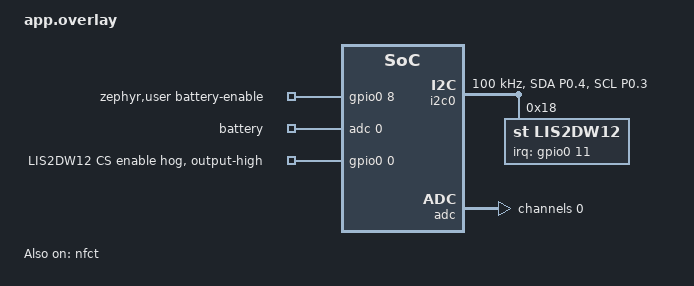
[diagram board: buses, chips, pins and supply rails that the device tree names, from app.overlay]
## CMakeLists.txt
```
cmake_minimum_required(VERSION 3.20.0)

find_package(Zephyr REQUIRED HINTS $ENV{ZEPHYR_BASE})
project(gpio_interrupt_clean)

target_sources(app PRIVATE
	src/main.c
	src/app_controller.c
	src/app_ble.c
	src/app_nfc.c
	src/sensor_accel.c
	src/sensor_battery.c
	src/measurement.c
	src/app_settings.c
)
```

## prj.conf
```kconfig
# GPIO
CONFIG_GPIO=y
CONFIG_GPIO_HOGS=y

# Development console and logging
CONFIG_SERIAL=y
CONFIG_CONSOLE=y
CONFIG_UART_CONSOLE=y
CONFIG_USE_SEGGER_RTT=y
CONFIG_RTT_CONSOLE=y

CONFIG_LOG=y
CONFIG_LOG_DEFAULT_LEVEL=3
CONFIG_LOG_MAX_LEVEL=4
CONFIG_LOG_BACKEND_RTT=y
CONFIG_LOG_BACKEND_UART=n

# Bluetooth Low Energy
CONFIG_BT=y
CONFIG_BT_PERIPHERAL=y
CONFIG_BT_DEVICE_NAME="Zephyr Button App"
CONFIG_BT_SMP=y
CONFIG_BT_BONDABLE=y
CONFIG_BT_SETTINGS=y
CONFIG_BT_KEYS_OVERWRITE_OLDEST=y

# Persistent settings
CONFIG_SETTINGS=y
CONFIG_FLASH=y
CONFIG_FLASH_MAP=y
CONFIG_NVS=y

# Workqueue capacity for BLE, NFC, and sensor-trigger work
CONFIG_SYSTEM_WORKQUEUE_STACK_SIZE=2048

# NFC Type 4 Tag
CONFIG_NFC_T4T_NRFXLIB=y
CONFIG_NFC_NDEF=y
CONFIG_NFC_NDEF_MSG=y
CONFIG_NFC_NDEF_RECORD=y
CONFIG_NFC_NDEF_TEXT_RECORD=y
CONFIG_NFC_NDEF_URI_REC=y

# The production PCB uses P0.00 as a GPIO, so use the LFRC clock.
CONFIG_CLOCK_CONTROL_NRF_K32SRC_RC=y

# Battery voltage measurement
CONFIG_ADC=y

# LIS2DW12 accelerometer
CONFIG_I2C=y
CONFIG_SENSOR=y
CONFIG_LIS2DW12=y
CONFIG_LIS2DW12_TRIGGER_GLOBAL_THREAD=y
CONFIG_LIS2DW12_WAKEUP=y
```

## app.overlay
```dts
#include <zephyr/dt-bindings/adc/adc.h>
#include <zephyr/dt-bindings/adc/nrf-saadc.h>
#include <zephyr/dt-bindings/gpio/gpio.h>
#include <zephyr/dt-bindings/i2c/i2c.h>
#include <zephyr/dt-bindings/pinctrl/nrf-pinctrl.h>
#include <zephyr/dt-bindings/sensor/lis2dw12.h>

/ {
	aliases {
		accel0 = &lis2dw12;
	};

	/*
	 * Application-specific hardware.
	 *
	 * Battery ADC:
	 *     SAADC channel 0 reads physical input AIN6 / P0.30.
	 *
	 * Battery divider enable:
	 *     P0.08 drives the BSS138 gate.
	 *     Active high completes the lower divider leg to ground.
	 */
	zephyr,user {
		io-channels = <&adc 0>;
		io-channel-names = "battery";

		battery-enable-gpios =
			<&gpio0 8 GPIO_ACTIVE_HIGH>;
	};
};

&pinctrl {
	sensor_i2c0_default: sensor_i2c0_default {
		group1 {
			psels = <NRF_PSEL(TWIM_SDA, 0, 4)>,
				<NRF_PSEL(TWIM_SCL, 0, 3)>;
		};
	};

	sensor_i2c0_sleep: sensor_i2c0_sleep {
		group1 {
			psels = <NRF_PSEL(TWIM_SDA, 0, 4)>,
				<NRF_PSEL(TWIM_SCL, 0, 3)>;

			low-power-enable;
		};
	};
};

/*
 * P0.00 drives the TPS22860 ON input.
 *
 * The TPS22860 output drives the LIS2DW12 CS pin, so this
 * GPIO must be high before the LIS2DW12 driver starts.
 */
&gpio0 {
	accel_cs_enable_hog: accel-cs-enable-hog {
		gpio-hog;
		gpios = <0 GPIO_ACTIVE_HIGH>;
		output-high;
		line-name = "LIS2DW12 CS enable";
	};
};

&i2c0 {
	status = "okay";
	clock-frequency = <I2C_BITRATE_STANDARD>;

	pinctrl-0 = <&sensor_i2c0_default>;
	pinctrl-1 = <&sensor_i2c0_sleep>;
	pinctrl-names = "default", "sleep";

	lis2dw12: accelerometer@18 {
		compatible = "st,lis2dw12";
		reg = <0x18>;
		status = "okay";

		range = <2>;
		odr = <0>;
		power-mode = <0>;

		irq-gpios = <&gpio0 11 GPIO_ACTIVE_HIGH>;
		int-pin = <1>;

		wakeup-duration =
			<LIS2DW12_DT_WAKEUP_2_ODR>;
	};
};

/*
 * SAADC channel 0 is a software ADC channel.
 *
 * NRF_SAADC_AIN6 selects the physical P0.30 analog input.
 * The two numbers do not need to be the same.
 */
&adc {
	status = "okay";

	#address-cells = <1>;
	#size-cells = <0>;

	channel@0 {
		reg = <0>;

		zephyr,gain = "ADC_GAIN_1_6";
		zephyr,reference = "ADC_REF_INTERNAL";

		zephyr,acquisition-time =
			<ADC_ACQ_TIME(
				ADC_ACQ_TIME_MICROSECONDS,
				40)>;

		zephyr,input-positive =
			<NRF_SAADC_AIN6>;

		zephyr,resolution = <12>;
	};
};

/*
 * The nRF52-DK board definition normally assigns P0.08 to
 * UART0. The production sensor uses P0.08 for the battery
 * divider enable signal, so UART0 must not claim this pin.
 *
 * Logging remains available through RTT.
 */
&uart0 {
	status = "disabled";
};

&nfct {
	status = "okay";
};

&gpiote {
	status = "okay";
};
```

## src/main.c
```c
#include <zephyr/logging/log.h>

#include "app_controller.h"

LOG_MODULE_REGISTER(eerms_main, LOG_LEVEL_INF);

int main(void)
{
	int ret;

	LOG_INF("Application started");

	ret = app_controller_init();

	if (ret < 0) {
		LOG_ERR("Application initialization failed: %d",
			ret);

		return ret;
	}

	LOG_INF("Setup complete; entering application event loop");

	app_controller_run();

	/*
	 * The controller event loop normally never returns.
	 */
	return 0;
}
```

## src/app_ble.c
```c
#include <errno.h>
#include <stdbool.h>
#include <stdint.h>

#include <zephyr/bluetooth/bluetooth.h>
#include <zephyr/bluetooth/conn.h>
#include <zephyr/bluetooth/gap.h>
#include <zephyr/bluetooth/gatt.h>
#include <zephyr/kernel.h>
#include <zephyr/logging/log.h>
#include <zephyr/sys/atomic.h>
#include <zephyr/sys/byteorder.h>
#include <zephyr/sys/util.h>
#include <zephyr/bluetooth/hci_types.h> 

#include "app_ble.h"

LOG_MODULE_REGISTER(app_ble, LOG_LEVEL_DBG);

#define APP_STATUS_PROTOCOL_VERSION 2U
#define APP_STATUS_PACKET_SIZE      20U

#define ACCEL_PACKET_SIZE 6U

#define MEASUREMENT_PACKET_PROTOCOL_VERSION 1U
#define MEASUREMENT_PACKET_SIZE             20U

#define MEASUREMENT_PACKET_VERSION_OFFSET       0U
#define MEASUREMENT_PACKET_VALID_FLAGS_OFFSET   1U
#define MEASUREMENT_PACKET_BATTERY_STATE_OFFSET 2U
#define MEASUREMENT_PACKET_HEALTH_OFFSET        3U
#define MEASUREMENT_PACKET_BATTERY_MV_OFFSET    4U
#define MEASUREMENT_PACKET_TEMPERATURE_OFFSET   6U
#define MEASUREMENT_PACKET_MEAN_X_OFFSET        8U
#define MEASUREMENT_PACKET_MEAN_Y_OFFSET        10U
#define MEASUREMENT_PACKET_MEAN_Z_OFFSET        12U
#define MEASUREMENT_PACKET_RMS_OFFSET           14U
#define MEASUREMENT_PACKET_PEAK_OFFSET          16U
#define MEASUREMENT_PACKET_SEQUENCE_OFFSET      18U
#define APP_STATUS_VERSION_OFFSET          0U
#define APP_STATUS_MODE_OFFSET             1U
#define APP_STATUS_RUNTIME_STATE_OFFSET    2U
#define APP_STATUS_WAKE_REASON_OFFSET      3U
#define APP_STATUS_HEALTH_OFFSET           4U
#define APP_STATUS_FLAGS_OFFSET            5U
#define APP_STATUS_ERROR_CODE_OFFSET       6U
#define APP_STATUS_FAULT_FLAGS_OFFSET      8U
#define APP_STATUS_FAULT_COUNT_OFFSET      10U
#define APP_STATUS_TRANSITION_COUNT_OFFSET 12U
#define APP_STATUS_UPTIME_OFFSET           16U

#define APP_STATUS_FLAG_CONNECTED             0x01U
#define APP_STATUS_FLAG_ADVERTISING_REQUESTED 0x02U
#define APP_STATUS_FLAG_ADVERTISING_ACTIVE    0x04U

BUILD_ASSERT(
	APP_STATUS_UPTIME_OFFSET + sizeof(uint32_t) ==
		APP_STATUS_PACKET_SIZE,
	"Application status packet layout does not match packet size");

BUILD_ASSERT(
	MEASUREMENT_PACKET_SEQUENCE_OFFSET +
		sizeof(uint16_t) ==
	MEASUREMENT_PACKET_SIZE,
	"Measurement packet layout does not match packet size"
);

#define BT_UUID_BUTTON_SERVICE_VAL \
	BT_UUID_128_ENCODE(0x12345678, 0x1234, 0x5678, 0x1234, 0x56789abcdef0)
#define BT_UUID_APP_MODE_VAL \
	BT_UUID_128_ENCODE(0x1234567a, 0x1234, 0x5678, 0x1234, 0x56789abcdef0)
#define BT_UUID_APP_STATUS_VAL \
	BT_UUID_128_ENCODE(0x1234567b, 0x1234, 0x5678, 0x1234, 0x56789abcdef0)
#define BT_UUID_APP_COMMAND_VAL \
	BT_UUID_128_ENCODE(0x1234567c, 0x1234, 0x5678, 0x1234, 0x56789abcdef0)
#define BT_UUID_ACCEL_DATA_VAL \
	BT_UUID_128_ENCODE(0x1234567d, 0x1234, 0x5678, 0x1234, 0x56789abcdef0)
#define BT_UUID_VIBRATION_DATA_VAL \
	BT_UUID_128_ENCODE(0x1234567e, 0x1234, 0x5678, 0x1234, 0x56789abcdef0)

static const struct app_ble_callbacks *app_callbacks;
static struct bt_conn *current_conn;

static atomic_t advertising_requested = ATOMIC_INIT(0);
static atomic_t advertising_active = ATOMIC_INIT(0); 

static bool app_mode_notifications_enabled;
static bool accel_notifications_enabled;
static bool vibration_notifications_enabled;

static int16_t latest_accel_x_mg;
static int16_t latest_accel_y_mg;
static int16_t latest_accel_z_mg;

static struct app_ble_measurement latest_measurement;

static struct bt_uuid_128 button_service_uuid =
	BT_UUID_INIT_128(BT_UUID_BUTTON_SERVICE_VAL);
static struct bt_uuid_128 app_mode_uuid =
	BT_UUID_INIT_128(BT_UUID_APP_MODE_VAL);
static struct bt_uuid_128 app_status_uuid =
	BT_UUID_INIT_128(BT_UUID_APP_STATUS_VAL);
static struct bt_uuid_128 app_command_uuid =
	BT_UUID_INIT_128(BT_UUID_APP_COMMAND_VAL);
static struct bt_uuid_128 accel_data_uuid =
	BT_UUID_INIT_128(BT_UUID_ACCEL_DATA_VAL);
static struct bt_uuid_128 vibration_data_uuid =
	BT_UUID_INIT_128(BT_UUID_VIBRATION_DATA_VAL);

static const struct bt_data advertising_data[] = {
	BT_DATA_BYTES(BT_DATA_FLAGS, BT_LE_AD_GENERAL | BT_LE_AD_NO_BREDR),
	BT_DATA_BYTES(BT_DATA_UUID128_ALL, BT_UUID_BUTTON_SERVICE_VAL),
	BT_DATA(BT_DATA_NAME_COMPLETE,
		CONFIG_BT_DEVICE_NAME,
		sizeof(CONFIG_BT_DEVICE_NAME) - 1),
};

static const struct bt_le_adv_param advertising_params =
	BT_LE_ADV_PARAM_INIT(BT_LE_ADV_OPT_CONN,
			     BT_GAP_ADV_FAST_INT_MIN_2,
			     BT_GAP_ADV_FAST_INT_MAX_2,
			     NULL);

static const struct bt_le_conn_param preferred_conn_params = {
	.interval_min = 80,
	.interval_max = 120,
	.latency = 4,
	.timeout = 400,
};

static ssize_t write_app_mode(struct bt_conn *conn,
			      const struct bt_gatt_attr *attr,
			      const void *buf,
			      uint16_t len,
			      uint16_t offset,
			      uint8_t flags);
static ssize_t read_app_mode(struct bt_conn *conn,
			     const struct bt_gatt_attr *attr,
			     void *buf,
			     uint16_t len,
			     uint16_t offset);
static ssize_t read_app_status(struct bt_conn *conn,
			       const struct bt_gatt_attr *attr,
			       void *buf,
			       uint16_t len,
			       uint16_t offset);
static ssize_t write_app_command(struct bt_conn *conn,
				 const struct bt_gatt_attr *attr,
				 const void *buf,
				 uint16_t len,
				 uint16_t offset,
				 uint8_t flags);
static ssize_t read_accel_data(struct bt_conn *conn,
				const struct bt_gatt_attr *attr,
				void *buf,
				uint16_t len,
				uint16_t offset);
static ssize_t read_vibration_data(struct bt_conn *conn,
				   const struct bt_gatt_attr *attr,
				   void *buf,
				   uint16_t len,
				   uint16_t offset);


static void app_mode_ccc_changed(const struct bt_gatt_attr *attr,
				 uint16_t value)
{
	ARG_UNUSED(attr);
	app_mode_notifications_enabled = (value == BT_GATT_CCC_NOTIFY);
	LOG_INF("Application mode notifications %s",
		app_mode_notifications_enabled ? "enabled" : "disabled");
}

static void accel_ccc_changed(const struct bt_gatt_attr *attr,
			      uint16_t value)
{
	ARG_UNUSED(attr);

	accel_notifications_enabled =
		(value == BT_GATT_CCC_NOTIFY);

	LOG_INF("Accelerometer notifications %s",
		accel_notifications_enabled ?
			"enabled" : "disabled");
}

static void vibration_ccc_changed(const struct bt_gatt_attr *attr,
				  uint16_t value)
{
	ARG_UNUSED(attr);

	vibration_notifications_enabled =
		(value == BT_GATT_CCC_NOTIFY);

	LOG_INF("Vibration notifications %s",
		vibration_notifications_enabled ?
			"enabled" : "disabled");
}

BT_GATT_SERVICE_DEFINE(
	button_service,
	BT_GATT_PRIMARY_SERVICE(&button_service_uuid.uuid),
	BT_GATT_CHARACTERISTIC(&app_mode_uuid.uuid,
			       BT_GATT_CHRC_READ | BT_GATT_CHRC_WRITE |
				       BT_GATT_CHRC_NOTIFY,
			       BT_GATT_PERM_READ | BT_GATT_PERM_WRITE,
			       read_app_mode, write_app_mode, NULL),
	BT_GATT_CCC(app_mode_ccc_changed,
		    BT_GATT_PERM_READ | BT_GATT_PERM_WRITE),
	BT_GATT_CHARACTERISTIC(&app_status_uuid.uuid,
			       BT_GATT_CHRC_READ,
			       BT_GATT_PERM_READ,
			       read_app_status, NULL, NULL),
	BT_GATT_CHARACTERISTIC(&app_command_uuid.uuid,
			       BT_GATT_CHRC_WRITE,
			       BT_GATT_PERM_WRITE,
			       NULL, write_app_command, NULL),
	BT_GATT_CHARACTERISTIC(&accel_data_uuid.uuid,
			       BT_GATT_CHRC_READ | BT_GATT_CHRC_NOTIFY,
			       BT_GATT_PERM_READ,
			       read_accel_data, NULL, NULL),

	BT_GATT_CCC(accel_ccc_changed,
		    BT_GATT_PERM_READ | BT_GATT_PERM_WRITE),

	BT_GATT_CHARACTERISTIC(&vibration_data_uuid.uuid,
			       BT_GATT_CHRC_READ | BT_GATT_CHRC_NOTIFY,
			       BT_GATT_PERM_READ,
			       read_vibration_data, NULL, NULL),

	BT_GATT_CCC(vibration_ccc_changed,
		    BT_GATT_PERM_READ | BT_GATT_PERM_WRITE)
);

static void accel_packet_build(uint8_t *packet)
{
	sys_put_le16((uint16_t)latest_accel_x_mg, &packet[0]);
	sys_put_le16((uint16_t)latest_accel_y_mg, &packet[2]);
	sys_put_le16((uint16_t)latest_accel_z_mg, &packet[4]);
}

static void measurement_packet_build(uint8_t *packet)
{
	bool vibration_valid;
	bool battery_valid;
	bool temperature_valid;

	vibration_valid =
		(latest_measurement.valid_flags &
		 APP_BLE_MEASUREMENT_VALID_VIBRATION) != 0U;

	battery_valid =
		(latest_measurement.valid_flags &
		 APP_BLE_MEASUREMENT_VALID_BATTERY) != 0U;

	temperature_valid =
		(latest_measurement.valid_flags &
		 APP_BLE_MEASUREMENT_VALID_TEMPERATURE) != 0U;

	packet[MEASUREMENT_PACKET_VERSION_OFFSET] =
		MEASUREMENT_PACKET_PROTOCOL_VERSION;

	packet[MEASUREMENT_PACKET_VALID_FLAGS_OFFSET] =
		latest_measurement.valid_flags;

	packet[MEASUREMENT_PACKET_BATTERY_STATE_OFFSET] =
		(uint8_t)latest_measurement.battery_state;

	packet[MEASUREMENT_PACKET_HEALTH_OFFSET] =
		(uint8_t)latest_measurement.health;

	sys_put_le16(
		battery_valid ?
			latest_measurement.battery_mv :
			0U,
		&packet[MEASUREMENT_PACKET_BATTERY_MV_OFFSET]);

	sys_put_le16(
		temperature_valid ?
			(uint16_t)latest_measurement.temperature_centi_c :
			0U,
		&packet[MEASUREMENT_PACKET_TEMPERATURE_OFFSET]);

	sys_put_le16(
		vibration_valid ?
			(uint16_t)latest_measurement.mean_x_mg :
			0U,
		&packet[MEASUREMENT_PACKET_MEAN_X_OFFSET]);

	sys_put_le16(
		vibration_valid ?
			(uint16_t)latest_measurement.mean_y_mg :
			0U,
		&packet[MEASUREMENT_PACKET_MEAN_Y_OFFSET]);

	sys_put_le16(
		vibration_valid ?
			(uint16_t)latest_measurement.mean_z_mg :
			0U,
		&packet[MEASUREMENT_PACKET_MEAN_Z_OFFSET]);

	sys_put_le16(
		vibration_valid ?
			latest_measurement.rms_mg :
			0U,
		&packet[MEASUREMENT_PACKET_RMS_OFFSET]);

	sys_put_le16(
		vibration_valid ?
			latest_measurement.peak_mg :
			0U,
		&packet[MEASUREMENT_PACKET_PEAK_OFFSET]);

	sys_put_le16(
		vibration_valid ?
			latest_measurement.sequence :
			0U,
		&packet[MEASUREMENT_PACKET_SEQUENCE_OFFSET]);
}

static int advertising_start(void)
{
	int err;

	if (!atomic_get(&advertising_requested)) {
		return 0;
	}

	if (current_conn != NULL) {
		return 0;
	}

	if (!atomic_cas(&advertising_active, 0 ,1)) {
		return 0;
	}

	err = bt_le_adv_start(&advertising_params,
				advertising_data,
				ARRAY_SIZE(advertising_data),
				NULL,
				0);

	if (err == -EALREADY) {
		LOG_DBG("Bluetooth advertising was already active");;
		return 0;
	}

	if (err < 0) {
		atomic_set(&advertising_active, 0);
		LOG_ERR("Bluetooth advertising failed to start: %d",
			err);
		return err;
	}

	LOG_INF("Bluetooth advertising started a \"%s\"",
		CONFIG_BT_DEVICE_NAME);

	return 0;
}

static int advertising_stop(void)
{
	bool was_active =
		atomic_get(&advertising_active) != 0;
	int err;

	if (current_conn != NULL) {
		atomic_set(&advertising_active, 0);
		return 0;
	}

	/*
	 * Stopping an advertisement that was never started should be
	 * treated as a successful no-op.
	 *
	 * This is important during a healthy NORMAL-mode boot, where
	 * Bluetooth is initialized but advertising is intentionally off.
	 */
	if (!was_active) {
		return 0;
	}

	err = bt_le_adv_stop();
	if (err < 0) {
		LOG_ERR("Bluetooth advertising failed to stop: %d",
			err);
		return err;
	}

	atomic_set(&advertising_active, 0);

	LOG_INF("Bluetooth advertising stopped");

	return 0;
}
	


static void advertising_restart_handler(struct k_work *work)
{
	int err;

	ARG_UNUSED(work);

	if (!atomic_get(&advertising_requested)) {
		LOG_DBG("Advertising restart skipped: not requested");
		return;
	}

	err = advertising_start();

	if (err < 0) {
		LOG_ERR("Failed to retart Bluetooth advertising: %d",
			err);
	}
}

K_WORK_DEFINE(advertising_restart_work, advertising_restart_handler);

static void connected(struct bt_conn *conn, uint8_t err)
{
	if (err != 0U) {
		int ret;

		atomic_set(&advertising_active, 0);

		LOG_ERR("Bluetooth connection failed: %u", err);

		if (atomic_get(&advertising_requested)) {
			ret = k_work_submit(
				&advertising_restart_work
			);
			if (ret < 0) {
				LOG_ERR("Failed to submit advertising"
					"restart work: %d",
					ret);
			}
		}

		return;
	}

	atomic_set(&advertising_active, 0);

	if (current_conn != NULL) {
		bt_conn_unref(current_conn);
	}
	current_conn = bt_conn_ref(conn);

	int ret = bt_conn_set_security(conn, BT_SECURITY_L2);
	if (ret < 0) {
		LOG_ERR("Failed to request Bluetooth security: %d", ret);
	} else {
		LOG_INF("Bluetooth security requested");
	}

	ret = bt_conn_le_param_update(conn, &preferred_conn_params);
	if (ret < 0) {
		LOG_ERR("Failed to request connection parameter update: %d", ret);
	} else {
		LOG_INF("Connection parameter update requested");
	}

	LOG_INF("Bluetooth device connected");
}

static void disconnected(struct bt_conn *conn, uint8_t reason)
{
	LOG_INF("Bluetooth device disconnected. Reason: %u",
		reason);

	if (current_conn == conn) {
		bt_conn_unref(current_conn);
		current_conn = NULL;
	}

	atomic_set(&advertising_active, 0);

	if (!atomic_get(&advertising_requested)) {
		LOG_INF("Bluetooth advertising remains disabled");
		return;
	}

	int ret = k_work_submit(&advertising_restart_work);

	if (ret < 0) {
		LOG_ERR("Failed to submit advertising restart work: %d",
			ret);
	}
}

static void le_param_updated(struct bt_conn *conn,
			     uint16_t interval,
			     uint16_t latency,
			     uint16_t timeout)
{
	ARG_UNUSED(conn);

	uint32_t interval_ms_x100 = (uint32_t)interval * 125U;
	uint32_t timeout_ms = (uint32_t)timeout * 10U;

	LOG_INF("Connection parameters updated: interval=%u.%02u ms, "
		"latency=%u, timeout=%u ms",
		interval_ms_x100 / 100U,
		interval_ms_x100 % 100U,
		latency,
		timeout_ms);
}

static void pairing_complete(struct bt_conn *conn, bool bonded)
{
	ARG_UNUSED(conn);
	LOG_INF("Bluetooth pairing complete. Bonded: %s",
		bonded ? "yes" : "no");
}

static void pairing_failed(struct bt_conn *conn,
			   enum bt_security_err reason)
{
	ARG_UNUSED(conn);
	LOG_ERR("Bluetooth pairing failed. Reason: %d", reason);
}

static void security_changed(struct bt_conn *conn,
			     bt_security_t level,
			     enum bt_security_err err)
{
	ARG_UNUSED(conn);

	if (err != BT_SECURITY_ERR_SUCCESS) {
		LOG_ERR("Bluetooth security failed: level=%u, error=%d",
			level, err);
		return;
	}

	LOG_INF("Bluetooth security established at level %u", level);
}

static struct bt_conn_auth_info_cb auth_info_callbacks = {
	.pairing_complete = pairing_complete,
	.pairing_failed = pairing_failed,
};

BT_CONN_CB_DEFINE(connection_callbacks) = {
	.connected = connected,
	.disconnected = disconnected,
	.le_param_updated = le_param_updated,
	.security_changed = security_changed,
};


static ssize_t write_app_mode(struct bt_conn *conn,
			      const struct bt_gatt_attr *attr,
			      const void *buf,
			      uint16_t len,
			      uint16_t offset,
			      uint8_t flags)
{
	ARG_UNUSED(conn);
	ARG_UNUSED(attr);
	ARG_UNUSED(flags);

	if (offset != 0U) {
		return BT_GATT_ERR(BT_ATT_ERR_INVALID_OFFSET);
	}
	if (len != sizeof(uint8_t)) {
		return BT_GATT_ERR(BT_ATT_ERR_INVALID_ATTRIBUTE_LEN);
	}

	uint8_t requested_mode = *((const uint8_t *)buf);
	if (requested_mode > APP_MODE_DIAGNOSTIC) {
		return BT_GATT_ERR(BT_ATT_ERR_VALUE_NOT_ALLOWED);
	}

	app_callbacks->mode_requested((enum app_mode)requested_mode);
	LOG_INF("Application mode change requested over Bluetooth: %u",
		requested_mode);
	return len;
}

static ssize_t read_app_mode(struct bt_conn *conn,
			     const struct bt_gatt_attr *attr,
			     void *buf,
			     uint16_t len,
			     uint16_t offset)
{
	uint8_t value = (uint8_t)app_callbacks->mode_get();
	return bt_gatt_attr_read(conn, attr, buf, len, offset,
				 &value, sizeof(value));
}

static uint8_t app_status_flags_get(void)
{
	uint8_t flags = 0U;

	if (current_conn != NULL) {
		flags |= APP_STATUS_FLAG_CONNECTED;
	}

	if (atomic_get(&advertising_requested) != 0) {
		flags |= APP_STATUS_FLAG_ADVERTISING_REQUESTED;
	}

	if (atomic_get(&advertising_active) != 0) {
		flags|= APP_STATUS_FLAG_ADVERTISING_ACTIVE;
	}

	return flags;
}

static ssize_t read_app_status(struct bt_conn *conn,
			       const struct bt_gatt_attr *attr,
			       void *buf,
			       uint16_t len,
			       uint16_t offset)
{
	uint8_t packet[APP_STATUS_PACKET_SIZE] = {0};

	packet[APP_STATUS_VERSION_OFFSET] =
		APP_STATUS_PROTOCOL_VERSION;

	packet[APP_STATUS_MODE_OFFSET] =
		(uint8_t)app_callbacks->mode_get();

	packet[APP_STATUS_RUNTIME_STATE_OFFSET] =
		(uint8_t)app_callbacks->runtime_state_get();

	packet[APP_STATUS_WAKE_REASON_OFFSET] =
		(uint8_t)app_callbacks->wake_reason_get();

	packet[APP_STATUS_HEALTH_OFFSET] =
		(uint8_t)app_callbacks->health_get();

	packet[APP_STATUS_FLAGS_OFFSET] =
		app_status_flags_get();

	sys_put_le16(
		app_callbacks->error_code_get(),
		&packet[APP_STATUS_ERROR_CODE_OFFSET]);

	sys_put_le16(
		app_callbacks->fault_flags_get(),
		&packet[APP_STATUS_FAULT_FLAGS_OFFSET]);

	sys_put_le16(
		app_callbacks->fault_occurrence_count_get(),
		&packet[APP_STATUS_FAULT_COUNT_OFFSET]);

	sys_put_le32(
		app_callbacks->state_transition_count_get(),
		&packet[APP_STATUS_TRANSITION_COUNT_OFFSET]);

	sys_put_le32(
		app_callbacks->uptime_seconds_get(),
		&packet[APP_STATUS_UPTIME_OFFSET]);

	return bt_gatt_attr_read(
		conn,
		attr,
		buf,
		len,
		offset,
		packet,
		sizeof(packet));
}

static ssize_t read_accel_data(struct bt_conn *conn,
			       const struct bt_gatt_attr *attr,
			       void *buf,
			       uint16_t len,
			       uint16_t offset)
{
	uint8_t packet[ACCEL_PACKET_SIZE];

	accel_packet_build(packet);

	return bt_gatt_attr_read(conn, attr, buf, len, offset,
				 packet, sizeof(packet));
}

static ssize_t read_vibration_data(struct bt_conn *conn,
				   const struct bt_gatt_attr *attr,
				   void *buf,
				   uint16_t len,
				   uint16_t offset)
{
	uint8_t packet[MEASUREMENT_PACKET_SIZE] = {0};

	/*
	 * The existing vibration UUID is now the versioned main
	 * measurement characteristic.
	 */
	measurement_packet_build(packet);

	return bt_gatt_attr_read(
		conn,
		attr,
		buf,
		len,
		offset,
		packet,
		sizeof(packet));
}

static ssize_t write_app_command(struct bt_conn *conn,
				 const struct bt_gatt_attr *attr,
				 const void *buf,
				 uint16_t len,
				 uint16_t offset,
				 uint8_t flags)
{
	ARG_UNUSED(conn);
	ARG_UNUSED(attr);
	ARG_UNUSED(flags);

	if (offset != 0U) {
		return BT_GATT_ERR(BT_ATT_ERR_INVALID_OFFSET);
	}
	if (len != sizeof(uint8_t)) {
		return BT_GATT_ERR(BT_ATT_ERR_INVALID_ATTRIBUTE_LEN);
	}

	uint8_t value = *((const uint8_t *)buf);
	switch (value) {
	case APP_BLE_COMMAND_STATUS_REPORT:
		app_callbacks->command_received((enum app_ble_command)value);
		LOG_INF("Application command received over Bluetooth: 0x%02x",
			value);
		return len;
	default:
		LOG_WRN("Unknown Bluetooth command: 0x%02x", value);
		return BT_GATT_ERR(BT_ATT_ERR_VALUE_NOT_ALLOWED);
	}
}

int app_ble_start(const struct app_ble_callbacks *callbacks)
{
	if ((callbacks == NULL) ||
	    (callbacks->mode_requested == NULL) ||
	    (callbacks->command_received == NULL) ||
	    (callbacks->mode_get == NULL) ||
	    (callbacks->runtime_state_get == NULL) ||
	    (callbacks->wake_reason_get == NULL) ||
	    (callbacks->health_get == NULL) ||
	    (callbacks->error_code_get == NULL) ||
	    (callbacks->fault_flags_get == NULL) ||
	    (callbacks->fault_occurrence_count_get == NULL) ||
	    (callbacks->state_transition_count_get == NULL) ||
	    (callbacks->uptime_seconds_get == NULL)) {

		return -EINVAL;
	}


	app_callbacks = callbacks;

	int err = bt_enable(NULL);
	if (err < 0) {
		LOG_ERR("Bluetooth initialization failed: %d", err);
		return err;
	}
	LOG_INF("Bluetooth initialized");

	err = bt_conn_auth_info_cb_register(&auth_info_callbacks);
	if ((err < 0) && (err != -EALREADY)) {
		LOG_ERR("Failed to register authentication callbacks: %d", err);
		return err;
	}
	LOG_INF("Bluetooth authentication callbacks registered");

	atomic_set(&advertising_requested, 0);
	atomic_set(&advertising_active, 0);

	LOG_INF("Bluetooth ready; awaiting application advertising policy");

	return 0;
}

int app_ble_set_advertising(bool enabled)
{
	if (!bt_is_ready()) {
		LOG_ERR("Cannot change advertising policy: "
			"Bluetooth is not ready");
		return -EACCES;
	}

	atomic_set(&advertising_requested,
		enabled ? 1:0);

	LOG_INF("Bluetooth advertising policy: %s",
		enabled ? "enabled" : "disabled");

	if(enabled) {
		return advertising_start();
	}

	return advertising_stop();
}

int app_ble_disconnect(void)
{
	int err;

	if (current_conn == NULL) {
		return 0;
	}

	err = bt_conn_disconnect(
		current_conn,
		BT_HCI_ERR_REMOTE_USER_TERM_CONN
	);

	if (err == -ENOTCONN) {
		return 0;
	}

	if (err < 0) {
		LOG_ERR("Failed to disconnect Bluetooth connection: %d",
			err);

		return err;
	}

	LOG_INF("Bluetooth disconnect requested");

	return 0;
}


int app_ble_notify_mode(enum app_mode mode)
{
	uint8_t value;
	int err;

	if (mode > APP_MODE_DIAGNOSTIC) {
		return -EINVAL;
	}

	if (current_conn == NULL) {
		LOG_DBG("Mode notification skipped: no active connection");
		return -ENOTCONN;
	}

	if (!app_mode_notifications_enabled) {
		LOG_DBG("Mode notification skipped: notifications disabled");
		return -EACCES;
	}

	value = (uint8_t)mode;

	err = bt_gatt_notify_uuid(current_conn,
				  &app_mode_uuid.uuid,
				  button_service.attrs,
				  &value,
				  sizeof(value));
	if (err < 0) {
		LOG_ERR("Failed to send mode notification: %d", err);
		return err;
	}

	LOG_DBG("Mode notification sent: %u", value);
	return 0;
}

bool app_ble_is_connected(void)
{
	return current_conn != NULL;
}

int app_ble_update_accel(int16_t x_mg,
			 int16_t y_mg,
			 int16_t z_mg)
{
	uint8_t packet[ACCEL_PACKET_SIZE];
	int err;

	latest_accel_x_mg = x_mg;
	latest_accel_y_mg = y_mg;
	latest_accel_z_mg = z_mg;

	if (current_conn == NULL) {
		LOG_DBG("Accelerometer notification skipped: no active connection");
		return -ENOTCONN;
	}

	if (!accel_notifications_enabled) {
		LOG_DBG("Accelerometer notification skipped: notifications disabled");
		return -EACCES;
	}

	accel_packet_build(packet);

	err = bt_gatt_notify_uuid(current_conn,
				  &accel_data_uuid.uuid,
				  button_service.attrs,
				  packet,
				  sizeof(packet));
	if (err < 0) {
		LOG_ERR("Failed to send accelerometer notification: %d", err);
		return err;
	}

	LOG_DBG("Accelerometer notification sent: X=%d, Y=%d, Z=%d mg",
		x_mg, y_mg, z_mg);
	return 0;
}

int app_ble_update_measurement(
	const struct app_ble_measurement *measurement)
{
	uint8_t packet[MEASUREMENT_PACKET_SIZE] = {0};
	int err;

	if (measurement == NULL) {
		return -EINVAL;
	}

	/*
	 * Store the complete result before checking connection state.
	 *
	 * NORMAL mode normally completes the measurement before the
	 * phone connects, so a later GATT read must still return the
	 * newest packet.
	 */
	latest_measurement = *measurement;

	if (current_conn == NULL) {
		LOG_DBG("Measurement notification skipped: no connection");
		return -ENOTCONN;
	}

	if (!vibration_notifications_enabled) {
		LOG_DBG("Measurement notification skipped: disabled");
		return -EACCES;
	}

	measurement_packet_build(packet);

	err = bt_gatt_notify_uuid(
		current_conn,
		&vibration_data_uuid.uuid,
		button_service.attrs,
		packet,
		sizeof(packet));

	if (err < 0) {
		LOG_ERR("Failed to send measurement notification: %d",
			err);
		return err;
	}

	LOG_DBG("Measurement notification sent: flags=0x%02x, "
		"battery=%u mV, battery_state=%u, RMS=%u mg, "
		"peak=%u mg, sequence=%u",
		measurement->valid_flags,
		(unsigned int)measurement->battery_mv,
		(unsigned int)measurement->battery_state,
		(unsigned int)measurement->rms_mg,
		(unsigned int)measurement->peak_mg,
		(unsigned int)measurement->sequence);

	return 0;
}
```

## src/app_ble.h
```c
#ifndef APP_BLE_H
#define APP_BLE_H

#include <stdbool.h>
#include <stdint.h>

#include "app_types.h"

enum app_ble_command {
	APP_BLE_COMMAND_STATUS_REPORT = 0x02,
};

/*
 * Validity bits for the versioned main measurement packet.
 */
enum app_ble_measurement_valid_flag {
	APP_BLE_MEASUREMENT_VALID_VIBRATION = 0x01,
	APP_BLE_MEASUREMENT_VALID_BATTERY = 0x02,
	APP_BLE_MEASUREMENT_VALID_TEMPERATURE = 0x04,
};

/*
 * Values used to build the 20-byte main measurement packet.
 *
 * The BLE implementation performs the actual byte packing so this
 * structure does not need to have a packed memory layout.
 */
struct app_ble_measurement {
	uint8_t valid_flags;

	enum app_battery_state battery_state;
	enum app_health_state health;

	uint16_t battery_mv;
	int16_t temperature_centi_c;

	int16_t mean_x_mg;
	int16_t mean_y_mg;
	int16_t mean_z_mg;

	uint16_t rms_mg;
	uint16_t peak_mg;
	uint16_t sequence;
};

struct app_ble_callbacks {
	void (*mode_requested)(enum app_mode mode);
	void (*command_received)(enum app_ble_command command);

	enum app_mode (*mode_get)(void);
	enum app_runtime_state (*runtime_state_get)(void);
	enum app_wake_reason (*wake_reason_get)(void);
	enum app_health_state (*health_get)(void);

	uint16_t (*error_code_get)(void);
	uint16_t (*fault_flags_get)(void);
	uint16_t (*fault_occurrence_count_get)(void);

	uint32_t (*state_transition_count_get)(void);
	uint32_t (*uptime_seconds_get)(void);
};

int app_ble_start(
	const struct app_ble_callbacks *callbacks);

int app_ble_notify_mode(
	enum app_mode mode);

int app_ble_update_accel(
	int16_t x_mg,
	int16_t y_mg,
	int16_t z_mg);

int app_ble_update_measurement(
	const struct app_ble_measurement *measurement);

int app_ble_set_advertising(
	bool enabled);

int app_ble_disconnect(void);

bool app_ble_is_connected(void);

#endif
```

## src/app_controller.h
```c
#ifndef APP_CONTROLLER_H
#define APP_CONTROLLER_H

/*
 * Initializes the complete product application:
 *
 * - accelerometer
 * - motion detection
 * - Bluetooth
 * - persistent settings
 * - NFC
 * - restored operating mode
 * - runtime-state policy
 */
int app_controller_init(void);

/*
 * Runs the application event loop.
 *
 * This function normally does not return.
 */
void app_controller_run(void);

#endif
```

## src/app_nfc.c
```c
#include <errno.h>
#include <stdbool.h>
#include <stdint.h>
#include <string.h>

#include <zephyr/kernel.h>
#include <zephyr/logging/log.h>
#include <zephyr/sys/atomic.h>
#include <zephyr/sys/printk.h>

#include <nfc/ndef/msg.h>
#include <nfc/ndef/text_rec.h>
#include <nfc/ndef/uri_rec.h>
#include <nfc/t4t/ndef_file.h>
#include <nfc_t4t_lib.h>

#include "app_nfc.h"

LOG_MODULE_REGISTER(app_nfc, LOG_LEVEL_DBG);

#define NFC_NDEF_BUFFER_SIZE 256U
#define NFC_TEXT_BUFFER_SIZE 96U
#define NFC_LANGUAGE_CODE    "en"
#define NFC_UPDATE_DELAY_MS  50U

#define NFC_MODE_COMMAND_NORMAL     "MODE=NORMAL"
#define NFC_MODE_COMMAND_CONFIG     "MODE=CONFIG"
#define NFC_MODE_COMMAND_DIAGNOSTIC "MODE=DIAGNOSTIC"

static const uint8_t nfc_web_url[] = "https://web.eerms.co.za/";

static uint8_t nfc_ndef_buffer[NFC_NDEF_BUFFER_SIZE];
static uint32_t nfc_ndef_length;
static uint8_t nfc_text_buffer[NFC_TEXT_BUFFER_SIZE];
static bool nfc_emulation_running;

static atomic_t nfc_update_generation = ATOMIC_INIT(0);
static atomic_t pending_mode = ATOMIC_INIT(APP_MODE_NORMAL);
static atomic_t pending_error_code =
	ATOMIC_INIT(APP_ERROR_NONE);
static atomic_t nfc_field_present = ATOMIC_INIT(0);
static atomic_t nfc_update_pending = ATOMIC_INIT(0);

static uint8_t nfc_write_buffer[NFC_NDEF_BUFFER_SIZE];
static size_t nfc_write_length;
static atomic_t nfc_write_pending = ATOMIC_INIT(0);
static app_nfc_mode_command_cb_t nfc_mode_command_cb;

static void app_nfc_update_work_handler(struct k_work *work);
static void app_nfc_write_work_handler(struct k_work *work);
static int app_nfc_parse_mode_command(const uint8_t *text,
				      size_t text_length,
				      enum app_mode *mode);

K_WORK_DELAYABLE_DEFINE(app_nfc_update_work, app_nfc_update_work_handler);
K_WORK_DEFINE(app_nfc_write_work, app_nfc_write_work_handler);

static const char *app_nfc_mode_name(enum app_mode mode)
{
	switch (mode) {
	case APP_MODE_NORMAL:
		return "NORMAL";

	case APP_MODE_CONFIG:
		return "CONFIG";

	case APP_MODE_DIAGNOSTIC:
		return "DIAGNOSTIC";

	default:
		return "UNKNOWN";
	}
}

static bool app_nfc_text_equals(const uint8_t *text,
				size_t text_length,
				const char *expected)
{
	size_t expected_length;

	if ((text == NULL) || (expected == NULL)) {
		return false;
	}

	expected_length = strlen(expected);
	return (text_length == expected_length) &&
	       (memcmp(text, expected, expected_length) == 0);
}

bool app_nfc_field_on(void)
{
	if (!atomic_cas(&nfc_field_present, 0, 1)) {
		return false;
	}

	LOG_DBG("NFC field state changed to present");
	return true;
}

bool app_nfc_field_off(void)
{
	int ret;

	if (!atomic_cas(&nfc_field_present, 1, 0)) {
		return false;
	}

	LOG_DBG("NFC field state changed to absent");

	if (!atomic_cas(&nfc_update_pending, 1, 0)) {
		return true;
	}

	ret = k_work_reschedule(&app_nfc_update_work,
				K_MSEC(NFC_UPDATE_DELAY_MS));
	if (ret < 0) {
		atomic_set(&nfc_update_pending, 1);
		LOG_ERR("Failed to schedule pending NFC update: %d", ret);
	}

	return true;
}

static int app_nfc_update_payload(
	enum app_mode mode,
	enum app_error_code error_code)
{
	static const uint8_t language_code[] = NFC_LANGUAGE_CODE;
	int text_length;
	int err;

	text_length = snprintk(
	nfc_text_buffer,
	sizeof(nfc_text_buffer),
	"EERMS Sensor\n"
	"Mode: %s\n"
	"Error: 0x%04x",
	app_nfc_mode_name(mode),
	(unsigned int)(uint16_t)error_code);
	if (text_length < 0) {
		LOG_ERR("Failed to format NFC text: %d", text_length);
		return text_length;
	}

	if ((size_t)text_length >= sizeof(nfc_text_buffer)) {
		LOG_ERR("NFC text buffer is too small");
		return -ENOMEM;
	}

	NFC_NDEF_URI_RECORD_DESC_DEF(uri_record,
				     NFC_URI_NONE,
				     nfc_web_url,
				     sizeof(nfc_web_url) - 1U);

	NFC_NDEF_TEXT_RECORD_DESC_DEF(text_record,
				      UTF_8,
				      language_code,
				      sizeof(language_code) - 1U,
				      nfc_text_buffer,
				      (uint32_t)text_length);

	NFC_NDEF_MSG_DEF(nfc_message, 2);

	err = nfc_ndef_msg_record_add(
		&NFC_NDEF_MSG(nfc_message),
		&NFC_NDEF_URI_RECORD_DESC(uri_record));
	if (err < 0) {
		LOG_ERR("Failed to add NFC URI record: %d", err);
		return err;
	}

	err = nfc_ndef_msg_record_add(
		&NFC_NDEF_MSG(nfc_message),
		&NFC_NDEF_TEXT_RECORD_DESC(text_record));
	if (err < 0) {
		LOG_ERR("Failed to add NFC text record: %d", err);
		return err;
	}

	nfc_ndef_length =
		nfc_t4t_ndef_file_msg_size_get(sizeof(nfc_ndef_buffer));

	err = nfc_ndef_msg_encode(&NFC_NDEF_MSG(nfc_message),
				  nfc_t4t_ndef_file_msg_get(nfc_ndef_buffer),
				  &nfc_ndef_length);
	if (err < 0) {
		LOG_ERR("Failed to encode NFC message: %d", err);
		return err;
	}

	err = nfc_t4t_ndef_file_encode(nfc_ndef_buffer, &nfc_ndef_length);
	if (err < 0) {
		LOG_ERR("Failed to encode NFC Type 4 file: %d", err);
		return err;
	}

	if (nfc_emulation_running) {
		err = nfc_t4t_emulation_stop();
		if (err < 0) {
			LOG_ERR("Failed to stop NFC emulation before update: %d",
				err);
			return err;
		}

		nfc_emulation_running = false;
	}

	err = nfc_t4t_ndef_rwpayload_set(nfc_ndef_buffer,
					 sizeof(nfc_ndef_buffer));
	if (err < 0) {
		LOG_ERR("Failed to update NFC payload: %d", err);
		return err;
	}

	err = nfc_t4t_emulation_start();
	if (err < 0) {
		LOG_ERR("Failed to restart NFC emulation after update: %d", err);
		return err;
	}

	nfc_emulation_running = true;

	LOG_INF("NFC payload updated: mode=%s, error=0x%04x",
	app_nfc_mode_name(mode),
	(unsigned int)(uint16_t)error_code);
	return 0;
}

static void app_nfc_update_work_handler(struct k_work *work)
{
	atomic_val_t generation_before;
	atomic_val_t generation_after;
	enum app_mode mode;
	int err;
	int ret;

	ARG_UNUSED(work);

	generation_before = atomic_get(&nfc_update_generation);
	mode = (enum app_mode)atomic_get(&pending_mode);
	enum app_error_code error_code =
	(enum app_error_code)atomic_get(
		&pending_error_code);

	err = app_nfc_update_payload(
	mode,
	error_code);
	if (err < 0) {
		LOG_ERR("Failed to update NFC payload from work item: %d", err);
		return;
	}

	generation_after = atomic_get(&nfc_update_generation);
	if (generation_after == generation_before) {
		return;
	}

	LOG_DBG("NFC state changed during update; scheduling another update");

	ret = k_work_reschedule(&app_nfc_update_work,
				K_MSEC(NFC_UPDATE_DELAY_MS));
	if (ret < 0) {
		LOG_ERR("Failed to reschedule NFC update work: %d", ret);
	}
}

void app_nfc_update_request(
	enum app_mode mode,
	enum app_error_code error_code)
{
	int ret;

	atomic_set(&pending_mode, (atomic_val_t)mode);
	atomic_set(
	&pending_error_code,
	(atomic_val_t)error_code);
	atomic_inc(&nfc_update_generation);

	if (atomic_get(&nfc_field_present)) {
		atomic_set(&nfc_update_pending, 1);
		LOG_DBG("NFC update deferred until field is removed");
		return;
	}

	ret = k_work_reschedule(&app_nfc_update_work,
				K_MSEC(NFC_UPDATE_DELAY_MS));
	if (ret < 0) {
		LOG_ERR("Failed to schedule NFC update work: %d", ret);
	}
}

void app_nfc_write_received(size_t data_length)
{
	size_t file_length;
	int ret;

	file_length = data_length + NFC_NDEF_FILE_NLEN_FIELD_SIZE;
	if (file_length > sizeof(nfc_write_buffer)) {
		LOG_ERR("Written NFC message is too large: %u bytes",
			(unsigned int)file_length);
		return;
	}

	if (!atomic_cas(&nfc_write_pending, 0, 1)) {
		LOG_WRN("Previous NFC write is still being processed");
		return;
	}

	memcpy(nfc_write_buffer, nfc_ndef_buffer, file_length);
	nfc_write_length = file_length;

	ret = k_work_submit(&app_nfc_write_work);
	if (ret < 0) {
		atomic_set(&nfc_write_pending, 0);
		LOG_ERR("Failed to submit NFC write work: %d", ret);
	}
}

static void app_nfc_write_work_handler(struct k_work *work)
{
	const uint8_t *record;
	const uint8_t *payload;
	const uint8_t *text;
	size_t record_length;
	size_t language_length;
	size_t text_length;
	uint16_t ndef_length;
	uint8_t header;
	uint8_t type_length;
	uint8_t payload_length;
	uint8_t status;
	enum app_mode requested_mode;
	int err;
	int ret;

	ARG_UNUSED(work);

	LOG_INF("Copied NFC Type 4 file: %u bytes",
		(unsigned int)nfc_write_length);
	LOG_HEXDUMP_DBG(nfc_write_buffer,
			nfc_write_length,
			"Written NFC data");

	/*
	 * Minimum supported structure:
	 * 2-byte NLEN, short-record header, type length, payload length,
	 * one-byte type, and a text status byte.
	 */
	if (nfc_write_length < 8U) {
		LOG_WRN("NFC file is too short");
		goto finished;
	}

	ndef_length = ((uint16_t)nfc_write_buffer[0] << 8) |
		      nfc_write_buffer[1];
	if ((size_t)ndef_length + NFC_NDEF_FILE_NLEN_FIELD_SIZE >
	    nfc_write_length) {
		LOG_WRN("Invalid NFC NDEF length: %u",
			(unsigned int)ndef_length);
		goto finished;
	}

	record = &nfc_write_buffer[NFC_NDEF_FILE_NLEN_FIELD_SIZE];
	header = record[0];
	type_length = record[1];
	payload_length = record[2];

	/* 0xD1: MB=1, ME=1, SR=1, TNF=well-known. */
	if (header != 0xD1U) {
		LOG_WRN("Unsupported NDEF header: 0x%02x", header);
		goto finished;
	}

	if ((type_length != 1U) || (record[3] != 'T')) {
		LOG_WRN("NDEF record is not a text record");
		goto finished;
	}

	record_length = 3U + type_length + payload_length;
	if (record_length > ndef_length) {
		LOG_WRN("NDEF record exceeds message length");
		goto finished;
	}

	payload = &record[3U + type_length];
	if (payload_length < 1U) {
		LOG_WRN("Text-record payload is empty");
		goto finished;
	}

	status = payload[0];
	if ((status & 0x80U) != 0U) {
		LOG_WRN("UTF-16 NFC text is not supported");
		goto finished;
	}

	language_length = status & 0x3FU;
	if ((1U + language_length) > payload_length) {
		LOG_WRN("Invalid NFC language-code length");
		goto finished;
	}

	text = &payload[1U + language_length];
	text_length = payload_length - 1U - language_length;

	err = app_nfc_parse_mode_command(text, text_length, &requested_mode);
	if (err < 0) {
		LOG_WRN("Unsupported NFC command");
		LOG_HEXDUMP_WRN(text, text_length, "Received NFC text");
		goto finished;
	}

	LOG_INF("Valid NFC mode command received: %s",
		app_nfc_mode_name(requested_mode));

	if (nfc_mode_command_cb != NULL) {
		nfc_mode_command_cb(requested_mode);
	}

finished:
	atomic_set(&nfc_write_pending, 0);
	atomic_set(&nfc_update_pending, 1);

	if (atomic_get(&nfc_field_present)) {
		return;
	}

	atomic_set(&nfc_update_pending, 0);
	ret = k_work_reschedule(&app_nfc_update_work,
				K_MSEC(NFC_UPDATE_DELAY_MS));
	if (ret < 0) {
		atomic_set(&nfc_update_pending, 1);
		LOG_ERR("Failed to restore NFC status payload: %d", ret);
	}
}

static int app_nfc_parse_mode_command(const uint8_t *text,
				      size_t text_length,
				      enum app_mode *mode)
{
	if ((text == NULL) || (mode == NULL)) {
		return -EINVAL;
	}

	if (app_nfc_text_equals(text, text_length,
				NFC_MODE_COMMAND_NORMAL)) {
		*mode = APP_MODE_NORMAL;
		return 0;
	}

	if (app_nfc_text_equals(text, text_length,
				NFC_MODE_COMMAND_CONFIG)) {
		*mode = APP_MODE_CONFIG;
		return 0;
	}

	if (app_nfc_text_equals(text, text_length,
				NFC_MODE_COMMAND_DIAGNOSTIC)) {
		*mode = APP_MODE_DIAGNOSTIC;
		return 0;
	}

	return -EINVAL;
}

int app_nfc_start(
	enum app_mode mode,
	enum app_error_code error_code,
	app_nfc_mode_command_cb_t mode_command_cb)
{
	nfc_mode_command_cb = mode_command_cb;

	atomic_set(&pending_mode, (atomic_val_t)mode);
	atomic_set(
	&pending_error_code,
	(atomic_val_t)error_code);

	return app_nfc_update_payload(
	mode,
	error_code);
}
```

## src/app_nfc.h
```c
#ifndef APP_NFC_H
#define APP_NFC_H

#include <stdbool.h>
#include <stddef.h>
#include <stdint.h>

#include "app_types.h"

typedef void (*app_nfc_mode_command_cb_t)(enum app_mode mode);

int app_nfc_start(
	enum app_mode mode,
	enum app_error_code error_code,
	app_nfc_mode_command_cb_t mode_command_cb);

void app_nfc_update_request(
	enum app_mode mode,
	enum app_error_code error_code);

bool app_nfc_field_on(void);
bool app_nfc_field_off(void);
void app_nfc_write_received(size_t data_length);

#endif
```

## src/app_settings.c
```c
#include <errno.h>
#include <stdint.h>
#include <string.h>

#include <zephyr/kernel.h>
#include <zephyr/logging/log.h>
#include <zephyr/settings/settings.h>
#include <zephyr/sys/atomic.h>

#include "app_settings.h"

LOG_MODULE_REGISTER(app_settings, LOG_LEVEL_DBG);

#define APP_SETTINGS_SUBTREE  "app"
#define APP_SETTINGS_MODE_KEY "mode"

#define APP_SETTINGS_MODE_PATH \
	APP_SETTINGS_SUBTREE "/" APP_SETTINGS_MODE_KEY

/*
 * restored_mode contains the most recent valid mode loaded from flash.
 * It defaults to NORMAL when no setting exists.
 */
static atomic_t restored_mode =
	ATOMIC_INIT(APP_MODE_NORMAL);

/*
 * pending_mode is the latest mode requested for saving.
 */
static atomic_t pending_mode =
	ATOMIC_INIT(APP_MODE_NORMAL);

/*
 * A generation counter prevents a mode change from being lost if another
 * save request arrives while the flash write work item is executing.
 */
static atomic_t save_generation = ATOMIC_INIT(0);

static void app_settings_save_work_handler(
	struct k_work *work);

K_WORK_DELAYABLE_DEFINE(
	app_settings_save_work,
	app_settings_save_work_handler);

static int app_settings_set(
	const char *name,
	size_t len,
	settings_read_cb read_cb,
	void *cb_arg)
{
	uint8_t saved_mode;
	int ret;

	if (strcmp(name, APP_SETTINGS_MODE_KEY) != 0) {
		return -ENOENT;
	}

	if (len != sizeof(saved_mode)) {
		LOG_WRN("Invalid saved application mode length: %u",
			(unsigned int)len);

		return -EINVAL;
	}

	ret = read_cb(
		cb_arg,
		&saved_mode,
		sizeof(saved_mode));

	if (ret < 0) {
		LOG_ERR("Failed to read saved application mode: %d",
			ret);

		return ret;
	}

	if (ret != sizeof(saved_mode)) {
		LOG_WRN("Incomplete application mode setting: %d",
			ret);

		return -EINVAL;
	}

	if (saved_mode > APP_MODE_DIAGNOSTIC) {
		LOG_WRN("Invalid saved application mode: %u",
			saved_mode);

		return -EINVAL;
	}

	atomic_set(
		&restored_mode,
		(atomic_val_t)saved_mode);

	atomic_set(
		&pending_mode,
		(atomic_val_t)saved_mode);

	LOG_INF("Application mode restored: %u",
		saved_mode);

	return 0;
}

SETTINGS_STATIC_HANDLER_DEFINE(
	app_settings,
	APP_SETTINGS_SUBTREE,
	NULL,
	app_settings_set,
	NULL,
	NULL);

static void app_settings_save_work_handler(
	struct k_work *work)
{
	atomic_val_t generation_before;
	enum app_mode mode;
	uint8_t saved_mode;
	int ret;

	ARG_UNUSED(work);

	generation_before =
		atomic_get(&save_generation);

	mode = (enum app_mode)atomic_get(
		&pending_mode);

	if ((mode < APP_MODE_NORMAL) ||
	    (mode > APP_MODE_DIAGNOSTIC)) {

		LOG_ERR("Refusing to save invalid application mode: %d",
			mode);

		return;
	}

	saved_mode = (uint8_t)mode;

	ret = settings_save_one(
		APP_SETTINGS_MODE_PATH,
		&saved_mode,
		sizeof(saved_mode));

	if (ret < 0) {
		LOG_ERR("Failed to save application mode %u: %d",
			saved_mode,
			ret);
	} else {
		atomic_set(
			&restored_mode,
			(atomic_val_t)mode);

		LOG_INF("Application mode saved: %u",
			saved_mode);
	}

	/*
	 * Another mode may have been requested while the flash write
	 * was taking place. Schedule another write for the newest value.
	 */
	if (atomic_get(&save_generation) !=
	    generation_before) {

		ret = k_work_reschedule(
			&app_settings_save_work,
			K_NO_WAIT);

		if (ret < 0) {
			LOG_ERR("Failed to reschedule application "
				"mode save: %d",
				ret);
		}
	}
}

int app_settings_load(void)
{
	int ret = settings_load();

	if (ret < 0) {
		LOG_ERR("Failed to load settings: %d",
			ret);

		return ret;
	}

	LOG_INF("Settings loaded");

	return 0;
}

enum app_mode app_settings_mode_get(void)
{
	enum app_mode mode =
		(enum app_mode)atomic_get(
			&restored_mode);

	if ((mode < APP_MODE_NORMAL) ||
	    (mode > APP_MODE_DIAGNOSTIC)) {

		return APP_MODE_NORMAL;
	}

	return mode;
}

int app_settings_mode_save_request(
	enum app_mode mode)
{
	int ret;

	if ((mode < APP_MODE_NORMAL) ||
	    (mode > APP_MODE_DIAGNOSTIC)) {

		return -EINVAL;
	}

	atomic_set(
		&pending_mode,
		(atomic_val_t)mode);

	atomic_inc(&save_generation);

	ret = k_work_reschedule(
		&app_settings_save_work,
		K_NO_WAIT);

	if (ret < 0) {
		LOG_ERR("Failed to schedule application mode save: %d",
			ret);

		return ret;
	}

	return 0;
}
```

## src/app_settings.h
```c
#ifndef APP_SETTINGS_H
#define APP_SETTINGS_H

#include "app_types.h"

/*
 * Loads all registered Zephyr settings.
 *
 * This must be called after Bluetooth initialization because
 * Bluetooth bonding information also uses the settings subsystem.
 */
int app_settings_load(void);

/*
 * Returns the application mode restored from persistent settings.
 * APP_MODE_NORMAL is returned when no mode has previously been saved.
 */
enum app_mode app_settings_mode_get(void);

/*
 * Requests an asynchronous write of the selected application mode.
 */
int app_settings_mode_save_request(enum app_mode mode);

#endif
```

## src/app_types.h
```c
#ifndef APP_TYPES_H
#define APP_TYPES_H

/*
 * Application modes.
 *
 * These values are part of the BLE protocol and persistent settings.
 * Do not change an existing numeric value after release.
 */
enum app_mode {
	APP_MODE_NORMAL = 0,
	APP_MODE_CONFIG = 1,
	APP_MODE_DIAGNOSTIC = 2,
};

/*
 * Runtime application states.
 *
 * These values will be transmitted in the BLE system-status packet.
 */
enum app_runtime_state {
	APP_STATE_BOOT = 0,
	APP_STATE_IDLE = 1,
	APP_STATE_MEASURING = 2,
	APP_STATE_REPORTING = 3,
	APP_STATE_ERROR = 4,
};

/*
 * Reason for the most recent measurement or wake operation.
 */
enum app_wake_reason {
	APP_WAKE_REASON_NONE = 0,
	APP_WAKE_REASON_BOOT = 1,
	APP_WAKE_REASON_SHAKE = 2,
	APP_WAKE_REASON_PERIODIC = 3,
	APP_WAKE_REASON_NFC = 4,
	APP_WAKE_REASON_BLE_COMMAND = 5,
};

/*
 * Overall product health.
 *
 * OK:
 *     All required functions are operating.
 *
 * WARNING:
 *     An unusual condition occurred, but monitoring is still complete.
 *
 * DEGRADED:
 *     One subsystem has failed, but partial monitoring can continue.
 *
 * FAULTED:
 *     The application cannot perform useful monitoring.
 */
enum app_health_state {
	APP_HEALTH_OK = 0,
	APP_HEALTH_WARNING = 1,
	APP_HEALTH_DEGRADED = 2,
	APP_HEALTH_FAULTED = 3,
};

/*
 * Battery condition reported in the main BLE measurement packet.
 *
 * These numeric values are part of the BLE protocol.
 * Do not change existing values after release.
 */
enum app_battery_state {
	APP_BATTERY_STATE_UNKNOWN = 0,
	APP_BATTERY_STATE_GOOD = 1,
	APP_BATTERY_STATE_DEGRADED = 2,
	APP_BATTERY_STATE_LOW = 3,
	APP_BATTERY_STATE_EXTREMELY_LOW = 4,
};

/*
 * Stable product error codes.
 *
 * Error-code ranges:
 *
 * 0x01xx - accelerometer
 * 0x02xx - temperature measurement
 * 0x03xx - battery measurement
 * 0x04xx - application and measurement processing
 * 0x05xx - Bluetooth
 * 0x06xx - persistent settings
 * 0x07xx - NFC
 */
enum app_error_code {
	APP_ERROR_NONE = 0x0000,

	APP_ERROR_ACCEL_INIT = 0x0101,
	APP_ERROR_ACCEL_MOTION_INIT = 0x0102,
	APP_ERROR_ACCEL_PROFILE = 0x0103,
	APP_ERROR_ACCEL_MOTION_ARM = 0x0104,
	APP_ERROR_ACCEL_MOTION_DISARM = 0x0105,
	APP_ERROR_ACCEL_SAMPLE_READ = 0x0106,

	APP_ERROR_TEMPERATURE_INIT = 0x0201,
	APP_ERROR_TEMPERATURE_ADC_READ = 0x0202,
	APP_ERROR_TEMPERATURE_OPEN_CIRCUIT = 0x0203,
	APP_ERROR_TEMPERATURE_SHORT_CIRCUIT = 0x0204,

	APP_ERROR_BATTERY_INIT = 0x0301,
	APP_ERROR_BATTERY_ADC_READ = 0x0302,

	APP_ERROR_EVENT_QUEUE_FULL = 0x0401,
	APP_ERROR_MEASUREMENT_PROCESS = 0x0402,
	APP_ERROR_REPORT_WINDOW = 0x0403,

	APP_ERROR_BLE_INIT = 0x0501,
	APP_ERROR_BLE_ADVERTISING = 0x0502,

	APP_ERROR_SETTINGS_LOAD = 0x0601,
	APP_ERROR_SETTINGS_SAVE = 0x0602,

	APP_ERROR_NFC_INIT = 0x0701,
};

/*
 * Active fault bits.
 *
 * More than one bit may be set at the same time. For example, the
 * temperature sensor and NFC subsystem could both be unavailable while
 * accelerometer monitoring continues.
 */
enum app_fault_flag {
	APP_FAULT_NONE = 0x0000,
	APP_FAULT_ACCEL = 0x0001,
	APP_FAULT_TEMPERATURE = 0x0002,
	APP_FAULT_BATTERY = 0x0004,
	APP_FAULT_APPLICATION = 0x0008,
	APP_FAULT_BLE = 0x0010,
	APP_FAULT_SETTINGS = 0x0020,
	APP_FAULT_NFC = 0x0040,
};

#endif
```
